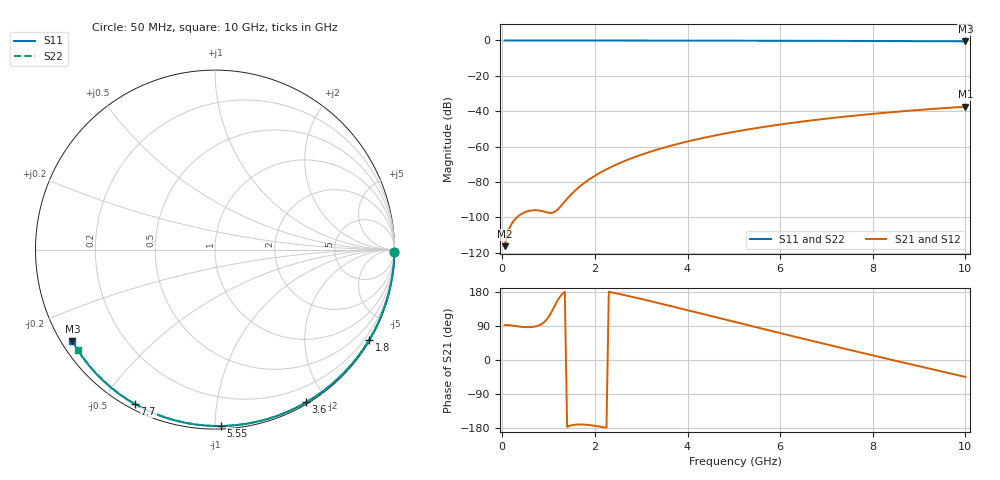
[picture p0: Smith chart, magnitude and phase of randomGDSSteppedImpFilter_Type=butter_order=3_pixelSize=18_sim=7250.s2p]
! freq	dB(S11)	phase(S11)	dB(S12)	phase(S12)
!  dB(S21)	phase(S21)	dB(S22)	phase(S22)
!S-par simulation data
#  GHz  S  DB  R 50
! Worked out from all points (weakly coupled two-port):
!   200 points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, 50 MHz to 10 GHz, reference 50 ohm
!   highest |S21| = -37.42 dB at 10 GHz (marker M1); lowest = -116.2 dB at 50 MHz (marker M2)
!   lowest |S11| = -0.5 dB at 10 GHz (marker M3), VSWR 35.06, Z = 1.55 - j14.7 ohm
!   |S11| at or under -10 dB: nowhere
!   |S22| runs from -0.5 to 0.0 dB; largest |S21 - S12| = 0
!   S11 on the Smith chart (normalised r, x): 50 MHz: open; 1.8 GHz: 0.03, -3.69; 3.6 GHz: 0.02, -1.76; 5.55 GHz: 0.02, -1.03; 7.7 GHz: 0.02, -0.61; 10 GHz: 0.03, -0.29
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0.05  -0.00 -0.9  -116.22 91.8  -116.22 91.8  -0.00 -0.8
0.45  -0.01 -7.7  -97.49 87.1  -97.49 87.1  -0.01 -7.4
0.9  -0.02 -15.3  -96.67 99.4  -96.67 99.4  -0.02 -14.8
1.3  -0.03 -22.0  -92.47 174.6  -92.47 174.6  -0.03 -21.3
1.75  -0.04 -29.5  -80.90 -170.3  -80.90 -170.3  -0.04 -28.5
1.8  -0.04 -30.4  -79.92 -170.7  -79.92 -170.7  -0.04 -29.3
1.95  -0.04 -32.8  -77.25 -172.7  -77.25 -172.7  -0.04 -31.7
2.1  -0.04 -35.3  -74.90 -175.5  -74.90 -175.5  -0.04 -34.0
2.3  -0.05 -38.5  -72.13 180.0  -72.13 180.0  -0.05 -37.2
2.5  -0.05 -41.8  -69.68 174.9  -69.68 174.9  -0.05 -40.3
2.9  -0.06 -48.2  -65.50 163.9  -65.50 163.9  -0.06 -46.5
3.4  -0.07 -56.1  -61.23 149.4  -61.23 149.4  -0.07 -54.2
3.6  -0.08 -59.2  -59.75 143.4  -59.75 143.4  -0.08 -57.2
4.3  -0.10 -69.8  -55.28 122.3  -55.28 122.3  -0.10 -67.5
5.05  -0.12 -80.9  -51.41 99.6  -51.41 99.6  -0.12 -78.3
5.55  -0.14 -88.0  -49.23 84.5  -49.23 84.5  -0.14 -85.3
6.1  -0.17 -95.8  -47.12 67.9  -47.12 67.9  -0.16 -92.8
6.7  -0.20 -104.0  -45.09 50.1  -45.09 50.1  -0.19 -100.9
7.7  -0.27 -117.4  -42.23 20.8  -42.23 20.8  -0.26 -114.0
8.35  -0.32 -125.9  -40.65 2.1  -40.65 2.1  -0.31 -122.4
9.2  -0.40 -136.9  -38.86 -22.1  -38.86 -22.1  -0.39 -133.3
10  -0.50 -147.2  -37.42 -44.7  -37.42 -44.7  -0.48 -143.6
